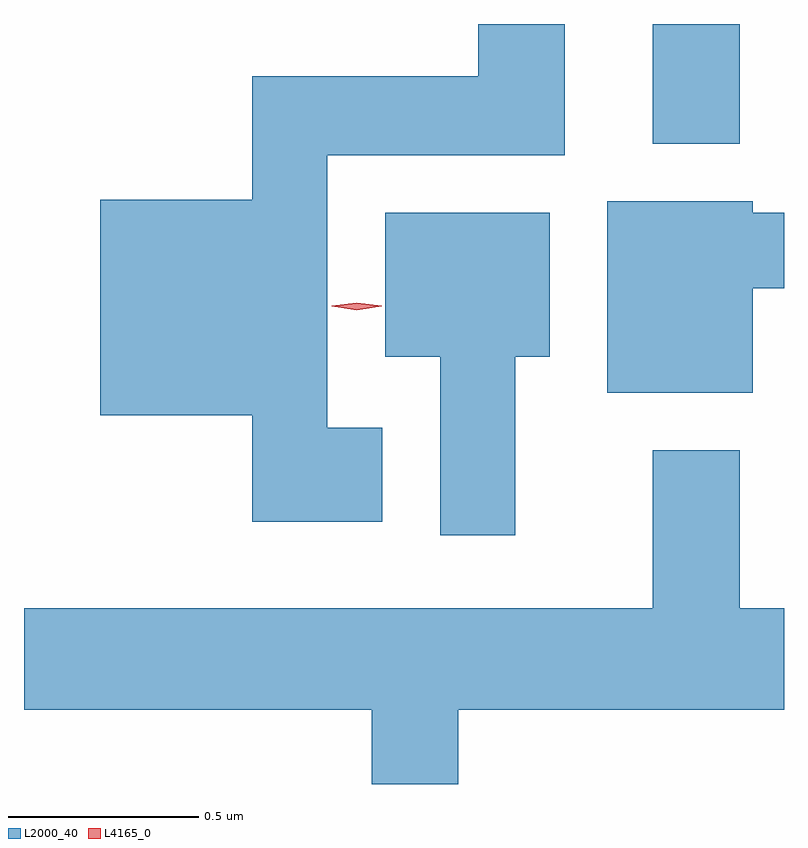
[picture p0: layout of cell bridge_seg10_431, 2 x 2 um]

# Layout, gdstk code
import gdstk
lib = gdstk.Library(unit=1e-6, precision=1e-09)
def R(c, l, rs):  # rectangles x0, y0, x1, y1
    for r in rs: c.add(gdstk.rectangle(r[:2], r[2:], *l))
def P(c, l, *ps):  # polygons
    for p in ps: c.add(gdstk.Polygon(p, *l))
L2000_40 = (2000, 40)
L4165_0 = (4165, 0)

bridge_seg10_431 = lib.new_cell('bridge_seg10_431')
R(bridge_seg10_431, L2000_40, [(1297.861,2099.866,1298.089,2100.181)])
P(bridge_seg10_431, L2000_40, [(1297.149,2099.119),(1297.004,2099.119),(1297.004,2099.836),(1297.629,2099.836),(1297.629,2100.181),(1297.401,2100.181),(1297.401,2100.044),(1296.806,2100.044),(1296.806,2099.719),(1296.406,2099.719),(1296.406,2099.151),(1296.806,2099.151),(1296.806,2098.871),(1297.149,2098.871)],
  [(1298.124,2099.486),(1298.206,2099.486),(1298.206,2099.684),(1298.124,2099.684),(1298.124,2099.714),(1297.741,2099.714),(1297.741,2099.211),(1298.124,2099.211)],
  [(1297.499,2099.306),(1297.589,2099.306),(1297.589,2099.684),(1297.156,2099.684),(1297.156,2099.306),(1297.301,2099.306),(1297.301,2098.836),(1297.499,2098.836)],
  [(1297.349,2098.376),(1298.206,2098.376),(1298.206,2098.644),(1298.089,2098.644),(1298.089,2099.059),(1297.861,2099.059),(1297.861,2098.644),(1296.206,2098.644),(1296.206,2098.376),(1297.121,2098.376),(1297.121,2098.181),(1297.349,2098.181)])
P(bridge_seg10_431, L4165_0, [(1297.082,2099.428),(1297.016,2099.438),(1297.016,2099.438),(1297.016,2099.439),(1297.082,2099.448),(1297.148,2099.439),(1297.148,2099.438),(1297.148,2099.438)])

lib.write_gds('bridge_seg10_431.gds')
